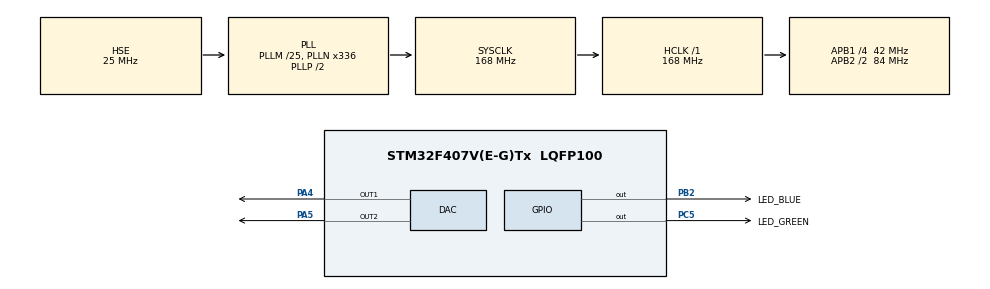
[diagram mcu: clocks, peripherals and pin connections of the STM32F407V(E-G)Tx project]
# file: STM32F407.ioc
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DAC.DAC_OutputBuffer=DAC_OUTPUTBUFFER_DISABLE
DAC.DAC_OutputBuffer2=DAC_OUTPUTBUFFER_DISABLE
Mcu.Family=STM32F4
Mcu.Name=STM32F407V(E-G)Tx
Mcu.Package=LQFP100
NVIC.PriorityGroup=NVIC_PRIORITYGROUP_4
PA13.Mode=Serial_Wire
PA13.Signal=SYS_JTMS-SWDIO
PA14.Mode=Serial_Wire
PA14.Signal=SYS_JTCK-SWCLK
PA4.Signal=COMP_DAC1_group
PA5.Signal=COMP_DAC2_group
PB2.GPIO_Label=LED_BLUE
PB2.Signal=GPIO_Output
PC5.GPIO_Label=LED_GREEN
PC5.Signal=GPIO_Output
PH0-OSC_IN.Mode=HSE-External-Oscillator
PH0-OSC_IN.Signal=RCC_OSC_IN
PH1-OSC_OUT.Mode=HSE-External-Oscillator
PH1-OSC_OUT.Signal=RCC_OSC_OUT
ProjectManager.HeapSize=0x200
ProjectManager.StackSize=0x1000
ProjectManager.TargetToolchain=MDK-ARM V5.32
RCC.48MHZClocksFreq_Value=84000000
RCC.AHBFreq_Value=168000000
RCC.APB1CLKDivider=RCC_HCLK_DIV4
RCC.APB1Freq_Value=42000000
RCC.APB1TimFreq_Value=84000000
RCC.APB2CLKDivider=RCC_HCLK_DIV2
RCC.APB2Freq_Value=84000000
RCC.APB2TimFreq_Value=168000000
RCC.CortexFreq_Value=168000000
RCC.HCLKFreq_Value=168000000
RCC.HSE_VALUE=25000000
RCC.HSI_VALUE=16000000
RCC.LSE_VALUE=32768
RCC.PLLM=25
RCC.PLLN=336
RCC.PLLSourceVirtual=RCC_PLLSOURCE_HSE
RCC.SYSCLKFreq_VALUE=168000000
RCC.SYSCLKSource=RCC_SYSCLKSOURCE_PLLCLK
RCC.VCOOutputFreq_Value=336000000
SH.COMP_DAC1_group.0=DAC_OUT1,DAC_OUT1
SH.COMP_DAC2_group.0=DAC_OUT2,DAC_OUT2
board=custom

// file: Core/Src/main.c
/* USER CODE BEGIN Header */
/**==================================================================================================================
 ** 【代码编写】  魔女开发板团队
 ** 【淘    宝】  魔女开发板       https://demoboard.taobao.com
 **==================================================================================================================
 ** 【实验名称】  DAC 双通道 1ms 方波输出
 **
 ** 【适用平台】  STM32F407 + keil5 + HAL库
 **
 ** 【实验目标】  通过DAC配置双通道输出1ms周期方波;
 **               1-实现PA4、PA5输出0V/3.3V交替翻转;
 **               2-1ms非阻塞定时，不影响系统其他任务;
 **               3-提供毫伏级电压设置函数，方便移植;
 **               4-绿色LED 500ms闪烁，指示程序运行状态;
 **
 ** 【引脚接线】  DAC_OUT1 → PA4
 **               DAC_OUT2 → PA5
 **               输出电压：0V 或 3.3V
 **               注意：PA4并联按键消抖电容会影响波形，如需纯净波形需移除电容;
 **
 ** 【 CubeMX 】  打开Analog → DAC;
 **               DAC_OUT1 / DAC_OUT2 ：Enabled
 **               Trigger ：No Trigger
 **               Output Buffer ：Enable
 **               Resolution ：12 Bit
 **
 ** 【初 始 化】  1-DAC初始化代码，CubeMX会根据配置自动生成;
 **               2-在main函数中，调用HAL_DAC_Start()开启双通道输出;
 **               3-主循环1ms定时翻转DAC输出电平;
 **
 ** 【DAC重点】   1-分辨率12位：0对应0V，4095对应3.3V;
 **               2-1ms周期翻转：输出500Hz方波;
 **               3-PA4因硬件电容影响，方波边沿会变缓;
 **               4-代码已做电压限幅，保证输出安全;
 **
 ** 【移植说明】  1-修改方波频率只需调整1ms定时值;
 **               2-可直接用于驱动模拟设备、产生测试信号;
 **               3-如需去掉PA4电容，需硬件修改;
 **
 ** 【更新记录】  2026-03-26  整理注释
 **
 ** 【备注说明】  版权归魔女科技所有，请勿商用，谢谢！
 **               https://demoboard.taobao.com
 **
==================================================================================================================**/
/* USER CODE END Header */
#include "main.h"
#include "dac.h"
#include "gpio.h"

/* USER CODE BEGIN Includes */
// 用户代码，必须写在配对的BEGIN与END注释之间; 否则,重新生成时会被自动删除;
#include "bsp_UART.h"         // UART通信

/* USER CODE END Includes */

void SystemClock_Config(void);

/* USER CODE BEGIN 0 */
// 用户代码，必须写在配对的BEGIN与END注释之间; 否则,重新生成时会被自动删除;

// 设置通道1电压值; 单位：mV; 值范围: 0~3300;
void DAC_PA4SetVoltage(uint16_t mV)
{
    if (mV > 3300)
    {
        mV = 3300;
    }
    uint16_t val = (uint16_t)(mV * 4095UL / 3300);                 // 毫伏转换为DAC值
    HAL_DAC_SetValue(&hdac, DAC_CHANNEL_1, DAC_ALIGN_12B_R, val);  // 设置DAC通道1的值
}

// 设置通道2电压值; 单位：mV; 值范围: 0~3300;
void DAC_PA5SetVoltage(uint16_t mV)
{
    if (mV > 3300)
    {
        mV = 3300;
    }
    uint16_t val = (uint16_t)(mV * 4095UL / 3300);                 // 毫伏转换为DAC值
    HAL_DAC_SetValue(&hdac, DAC_CHANNEL_2, DAC_ALIGN_12B_R, val);  // 设置DAC通道2的值
}

/* USER CODE END 0 */

int main(void)
{

    /* USER CODE BEGIN 1 */

    /* 说明：
     * 1. 不要删除CubeMX生成的注释行（形如 USER CODE BEGIN/END），这些注释用于代码重新生成时的定位
     * 2. 所有用户自定义代码必须写在对应的BEGIN与END注释行之间，否则重新生成时会被覆盖
     * 3. 主要初始化函数说明：
     *    - HAL_Init()            初始化HAL库，配置中断优先级、系统时基等
     *    - SystemClock_Config()  配置系统时钟
     *    - MX_GPIO_Init()        初始化GPIO引脚（仅包含推挽输出、中断触发等配置）
     *    - 外设功能引脚（如UART、SPI等）的初始化在各自的功能文件中
     */

    /* USER CODE END 1 */

    /* MCU Configuration--------------------------------------------------------*/

    /* Reset of all peripherals, Initializes the Flash interface and the Systick. */
    HAL_Init();

    /* Configure the system clock */
    SystemClock_Config();

    /* Initialize all configured peripherals */
    MX_GPIO_Init();
    MX_DAC_Init();
    /* USER CODE BEGIN 2 */
    // 用户代码，必须写在配对的BEGIN与END注释之间; 否则,重新生成时会被自动删除;
    UART1_Init(115200);                                             // UART1初始化

    HAL_DAC_Start(&hdac, DAC_CHANNEL_1);    // 开启通道1
    HAL_DAC_Start(&hdac, DAC_CHANNEL_2);    // 开启通道2

    // HAL_DAC_SetValue(&hdac, DAC_CHANNEL_1, DAC_ALIGN_12B_R, 2110);  // 通道1输出1.7V
    // HAL_DAC_SetValue(&hdac, DAC_CHANNEL_2, DAC_ALIGN_12B_R, 3475);  // 通道2输出2.8V

    DAC_PA4SetVoltage(1700);                // 通道1输出1700mV; 参数范围：0~3300
    DAC_PA5SetVoltage(2800);                // 通道2输出2800mV; 参数范围：0~3300

    /* USER CODE END 2 */

    /* Infinite loop */
    /* USER CODE BEGIN WHILE */
    while (1)
    {
        /** 每1ms设置一次DAC输出值 **/
        static uint32_t lastTime_1ms = 0;                                       // 定义静态变量，用于记录上次执行这个任务的时间点(单位：毫秒)
        if (HAL_GetTick() - lastTime_1ms >= 1)                                  // 检查当前时间距离上次执行是否已经过了500ms; HAL_GetTick()是获取启动后经过的毫秒数;
        {
            static uint8_t state = 0;                                           // 状态值
            if (state == 0)
            {
                HAL_DAC_SetValue(&hdac, DAC_CHANNEL_1, DAC_ALIGN_12B_R, 4095);  // 通道1输出3.3V; 特别地：PA4并联有按键3的消抖电容，会明显地影响波形，如果方案必须需要使用到PA4输出波形，可用电铬铁取掉按键3的消抖电容。
                HAL_DAC_SetValue(&hdac, DAC_CHANNEL_2, DAC_ALIGN_12B_R, 4095);  // 通道2输出3.3V
                state = 1;                                                      // 更新状态值
            }
            else
            {
                HAL_DAC_SetValue(&hdac, DAC_CHANNEL_1, DAC_ALIGN_12B_R, 0);     // 通道1输出0V; 特别地：PA4并联有按键3的消抖电容，会明显地影响波形，如果方案必须需要使用到PA4输出波形，可用电铬铁取掉按键3的消抖电容。
                HAL_DAC_SetValue(&hdac, DAC_CHANNEL_2, DAC_ALIGN_12B_R, 0);     // 通道2输出0V
                state = 0;                                                      // 更新状态值
            }
            lastTime_1ms =   HAL_GetTick();                                     // 记录当前时间，作为新的基准点，为下一次判断做准备
        }

        /** 每500ms规律地闪烁绿色LED, 便于观察程序是否运行、卡死 **/
        static uint32_t lastTime_500ms = 0;                                     // 定义静态变量，用于记录上次执行这个任务的时间点(单位：毫秒)
        if (HAL_GetTick() - lastTime_500ms >= 500)                              // 检查当前时间距离上次执行是否已经过了500ms; HAL_GetTick()是获取启动后经过的毫秒数;
        {
            HAL_GPIO_TogglePin(GPIOC, GPIO_PIN_5);                              // 控制绿色LED引脚电平翻转(PC5); 规律地闪烁LED，方便外部观察系统是否正常运行
            lastTime_500ms =   HAL_GetTick();                                   // 记录当前时间，作为新的基准点，为下一次判断做准备
        }

        /* USER CODE END WHILE */

    }
}

void SystemClock_Config(void)
{
    RCC_OscInitTypeDef RCC_OscInitStruct = {0};
    RCC_ClkInitTypeDef RCC_ClkInitStruct = {0};

    /** Configure the main internal regulator output voltage
    */
    __HAL_RCC_PWR_CLK_ENABLE();
    __HAL_PWR_VOLTAGESCALING_CONFIG(PWR_REGULATOR_VOLTAGE_SCALE1);

    /** Initializes the RCC Oscillators according to the specified parameters
    * in the RCC_OscInitTypeDef structure.
    */
    RCC_OscInitStruct.OscillatorType = RCC_OSCILLATORTYPE_HSE;
    RCC_OscInitStruct.HSEState = RCC_HSE_ON;
    RCC_OscInitStruct.PLL.PLLState = RCC_PLL_ON;
    RCC_OscInitStruct.PLL.PLLSource = RCC_PLLSOURCE_HSE;
    RCC_OscInitStruct.PLL.PLLM = 25;
    RCC_OscInitStruct.PLL.PLLN = 336;
    RCC_OscInitStruct.PLL.PLLP = RCC_PLLP_DIV2;
    RCC_OscInitStruct.PLL.PLLQ = 4;
    if (HAL_RCC_OscConfig(&RCC_OscInitStruct) != HAL_OK)
    {
        Error_Handler();
    }

    /** Initializes the CPU, AHB and APB buses clocks
    */
    RCC_ClkInitStruct.ClockType = RCC_CLOCKTYPE_HCLK | RCC_CLOCKTYPE_SYSCLK
                                  | RCC_CLOCKTYPE_PCLK1 | RCC_CLOCKTYPE_PCLK2;
    RCC_ClkInitStruct.SYSCLKSource = RCC_SYSCLKSOURCE_PLLCLK;
    RCC_ClkInitStruct.AHBCLKDivider = RCC_SYSCLK_DIV1;
    RCC_ClkInitStruct.APB1CLKDivider = RCC_HCLK_DIV4;
    RCC_ClkInitStruct.APB2CLKDivider = RCC_HCLK_DIV2;

    if (HAL_RCC_ClockConfig(&RCC_ClkInitStruct, FLASH_LATENCY_5) != HAL_OK)
    {
        Error_Handler();
    }
}

void Error_Handler(void)
{
    __disable_irq();
    while (1)
    {
    }
}
